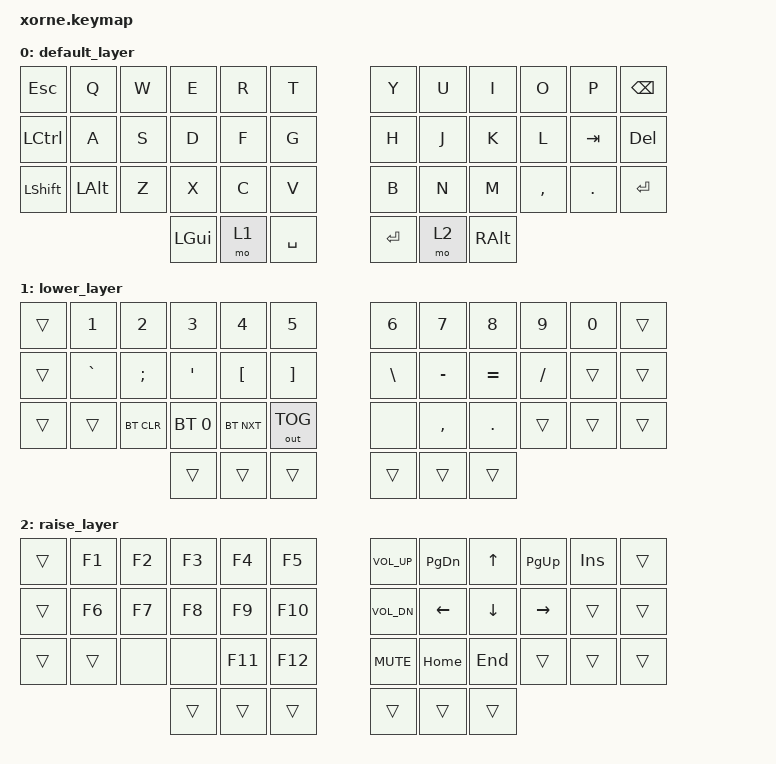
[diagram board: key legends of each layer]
/*
 * Copyright (c) 2020 The ZMK Contributors
 *
 * SPDX-License-Identifier: MIT
 */

#include <behaviors.dtsi>
#include <dt-bindings/zmk/keys.h>
#include <dt-bindings/zmk/bt.h>
#include <dt-bindings/zmk/outputs.h>

/ {
        keymap {
                compatible = "zmk,keymap";
                default_layer {
// -----------------------------------------------------------------------------------------
// | ESC |  Q  |  W  |  E  |  R  |  T  |   |  Y  |  U  |  I  |  O  |  P  | BKSP|
// | CTRL|  A  |  S  |  D  |  F  |  G  |   |  H  |  J  |  K  |  L  | TAB | DEL |
// | SHFT| ALT |  Z  |  X  |  C  |  V  |   |  B  |  N  |  M  |  ,  |  .  | ENT |
//                   | GUI | LWR | SPC |   | ENT | RSE | ALT |
                        bindings = <
   &kp ESC   &kp Q     &kp W     &kp E     &kp R     &kp T          &kp Y     &kp U     &kp I     &kp O     &kp P     &kp BSPC
   &kp LCTRL &kp A     &kp S     &kp D     &kp F     &kp G          &kp H     &kp J     &kp K     &kp L     &kp TAB   &kp DEL
   &kp LSHFT &kp LALT  &kp Z     &kp X     &kp C     &kp V          &kp B     &kp N     &kp M     &kp COMMA &kp DOT   &kp RET
                                 &kp LGUI  &mo 1     &kp SPACE      &kp RET   &mo 2     &kp RALT
                        >;
                };
                lower_layer {
// -----------------------------------------------------------------------------------------
// |     |  1  |  2  |  3  |  4  |  5  |   |  6  |  7  |  8  |  9  |  0  |     |
// |     |  `  |  ;  |  '  |  [  |  ]  |   |  \  |  -  |  =  |  /  |     |     |
// |     |     |BTCLR| BT1 |BTNXT|OUTTG|   |     |  ,  |  .  |     |     |     |
//                   |     |     |     |   |     |     |     |
                        bindings = <
   &trans    &kp N1    &kp N2    &kp N3    &kp N4    &kp N5         &kp N6    &kp N7    &kp N8    &kp N9    &kp N0    &trans
   &trans    &kp GRAVE &kp SEMI  &kp SQT   &kp LBKT  &kp RBKT       &kp BSLH  &kp MINUS &kp EQUAL &kp FSLH  &trans    &trans
   &trans &trans &bt BT_CLR &bt BT_SEL 0 &bt BT_NXT &out OUT_TOG    &none     &kp COMMA &kp DOT   &trans    &trans    &trans
                                 &trans    &trans    &trans         &trans    &trans    &trans
                        >;
                };
                raise_layer {
// -----------------------------------------------------------------------------------------
// |     |  F1 |  F2 |  F3 |  F4 |  F5 |   | VOLU| PGDN|  UP | PGUP| INS |     |
// |     |  F6 |  F7 |  F8 |  F9 | F10 |   | VOLD| LFT | DWN | RGT |     |     |
// |     |     |     |     | F11 | F12 |   | VOLM| HOME| END |     |     |     |
//                   |     |     |     |   |     |     |     |
                        bindings = <
   &trans    &kp F1    &kp F2    &kp F3    &kp F4    &kp F5      &kp C_VOL_UP &kp PG_DN &kp UP    &kp PG_UP &kp INS   &trans
   &trans    &kp F6    &kp F7    &kp F8    &kp F9    &kp F10     &kp C_VOL_DN &kp LEFT  &kp DOWN  &kp RIGHT &trans    &trans
   &trans    &trans    &none     &none     &kp F11   &kp F12       &kp C_MUTE &kp HOME  &kp END   &trans    &trans    &trans
                                 &trans    &trans    &trans         &trans    &trans    &trans
                        >;
                };
        };
};
